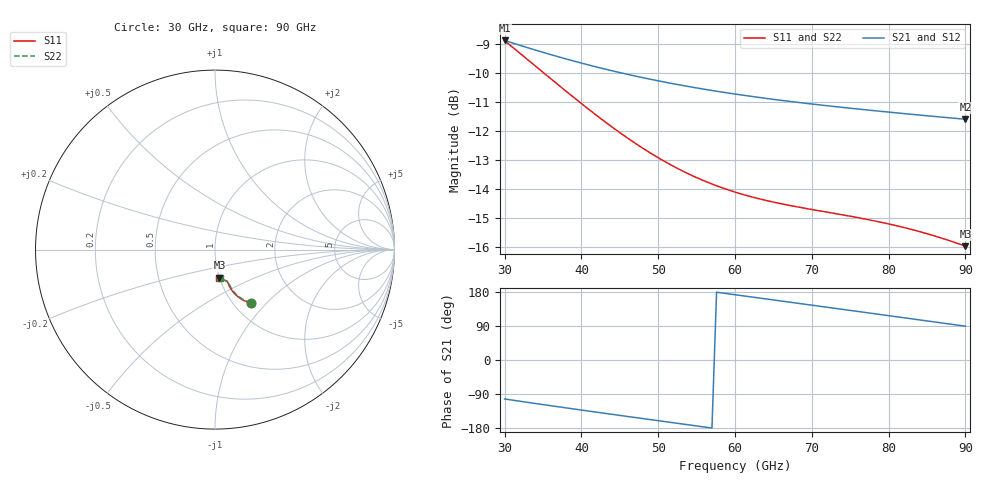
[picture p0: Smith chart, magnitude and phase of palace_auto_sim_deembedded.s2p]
! Created with skrf 1.11.0 (http://scikit-rf.org).
# GHz S DB R 50.0
!freq dBS11 angS11 dBS21 angS21 dBS12 angS12 dBS22 angS22
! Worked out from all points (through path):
!   101 points, 30 GHz to 90 GHz, reference 50 ohm
!   highest |S21| = -8.89 dB at 30 GHz (marker M1); lowest = -11.6 dB at 90 GHz (marker M2)
!   group delay of S21, straight-line fit = 7.72 ps
!   lowest |S11| = -16.0 dB at 90 GHz (marker M3), VSWR 1.38, Z = 49.9 - j16.1 ohm
!   |S11| at or under -10 dB: 35.06 GHz to end of sweep
!   |S22| runs from -15.9 to -8.9 dB; largest |S21 - S12| = 3.9e-14
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30  -8.90 -56.3  -8.89 -102.8  -8.89 -102.8  -8.92 -55.8
33  -9.55 -59.6  -9.14 -111.8  -9.14 -111.8  -9.57 -59.1
35.4  -10.08 -61.8  -9.33 -118.8  -9.33 -118.8  -10.10 -61.2
37.8  -10.60 -63.7  -9.51 -125.8  -9.51 -125.8  -10.62 -63.0
40.2  -11.11 -65.2  -9.68 -132.7  -9.68 -132.7  -11.13 -64.5
42.6  -11.60 -66.4  -9.85 -139.5  -9.85 -139.5  -11.62 -65.6
45  -12.07 -67.3  -10.00 -146.2  -10.00 -146.2  -12.08 -66.4
47.4  -12.50 -67.9  -10.14 -152.9  -10.14 -152.9  -12.51 -67.0
50.4  -13.00 -68.4  -10.30 -161.2  -10.30 -161.2  -12.99 -67.4
52.8  -13.34 -68.6  -10.42 -167.9  -10.42 -167.9  -13.32 -67.5
55.2  -13.64 -68.7  -10.54 -174.5  -10.54 -174.5  -13.61 -67.6
57.6  -13.90 -68.8  -10.64 178.9  -10.64 178.9  -13.85 -67.7
60  -14.12 -68.9  -10.74 172.3  -10.74 172.3  -14.06 -67.8
64.8  -14.45 -69.4  -10.91 159.0  -10.91 159.0  -14.37 -68.4
67.2  -14.58 -69.9  -10.99 152.4  -10.99 152.4  -14.49 -69.0
70.2  -14.73 -70.8  -11.09 144.1  -11.09 144.1  -14.62 -69.9
73.2  -14.87 -71.9  -11.18 135.9  -11.18 135.9  -14.75 -71.1
75.6  -14.98 -72.9  -11.24 129.2  -11.24 129.2  -14.86 -72.2
80.4  -15.24 -75.4  -11.37 115.9  -11.37 115.9  -15.12 -74.9
85.2  -15.57 -78.2  -11.49 102.6  -11.49 102.6  -15.44 -77.9
87.6  -15.77 -79.7  -11.55 95.9  -11.55 95.9  -15.64 -79.4
90  -15.99 -81.1  -11.61 89.2  -11.61 89.2  -15.86 -81.0
